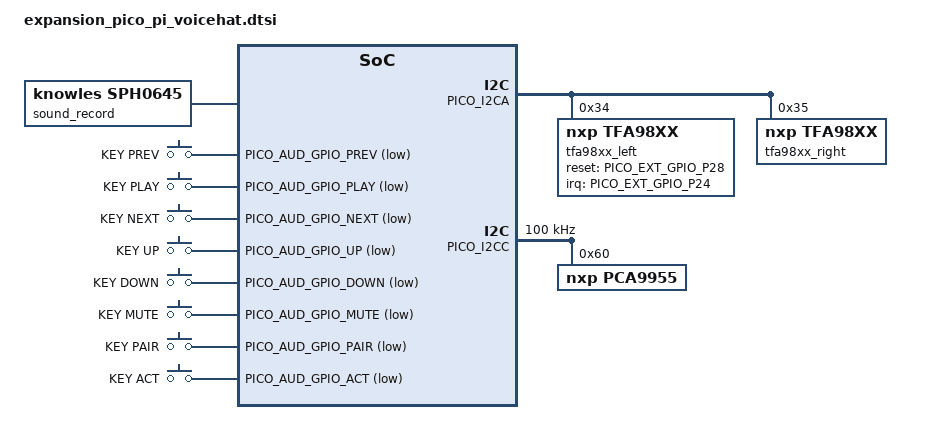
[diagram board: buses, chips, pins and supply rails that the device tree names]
/*
 * Copyright 2018 Technexion Ltd.
 *
 * Author: Wig Cheng <wig.cheng@technexion.com>
 *	   Richard Hu <richard.hu@technexion.com>
 *	   Tapani Utriainen <tapani@technexion.com>
 *
 * This program is free software; you can redistribute it and/or modify
 * it under the terms of the GNU General Public License version 2 as
 * published by the Free Software Foundation.
 *
 */

#include "tnmacro.h"

/ {
	/delete-node/ sound; //Disable SGTL5K on PICO-PI baseboard
	/delete-node/ gpio-edm;

	sound-tfa9912 {
		compatible = "nxp,imx-audio-tfa98xx", "nxp,imx-tfa98xx";
		nxp,model = "TFA9912";
		cpu-dai = <&PICO_AUDA_I2S_CHANNEL>;
		ssi-controller = <&PICO_AUDA_I2S_CHANNEL>;
		nxp,audio-codec = <&tfa98xx_left &tfa98xx_right>;
		clocks = <&PICO_AUD_CLKA_SRC>;
		nxp,audio-routing =
			"Speaker", "OUTL",
			"DMIC1", "Mic",
			"DMIC2", "Mic",
			"DMIC3", "Mic",
			"DMIC4", "Mic";
	};

	sound-sph0645 {
		compatible = "nxp,imx-audio-sph0645", "nxp,imx-sph0645";
		nxp,model = "SPH0645";
		cpu-dai = <&PICO_AUD_I2SB_CHANNEL>;
		ssi-controller = <&PICO_AUD_I2SB_CHANNEL>;
		nxp,audio-codec = <&sound_record>;
		clocks = <&PICO_AUD_CLKB_SRC>;
		no-audmux = "true";
	};

	sound_record: codec {
		compatible = "knowles,sph0645";
	};

	gpio_keys {
		compatible = "gpio-keys";
		pinctrl-names = "default";
		pinctrl-0 = <&pinctrl_gpio_key_voicehat>;

		prev {
			gpios = <&PICO_AUD_GPIO_PREV GPIO_ACTIVE_LOW>;
			label = "KEY PREV";
			linux,code = <KEY_PREVIOUS>;
		};

		play {
			gpios = <&PICO_AUD_GPIO_PLAY GPIO_ACTIVE_LOW>;
			label = "KEY PLAY";
			linux,code = <KEY_PLAY>;
		};

		next {
			gpios = <&PICO_AUD_GPIO_NEXT GPIO_ACTIVE_LOW>;
			label = "KEY NEXT";
			linux,code = <KEY_NEXT>;
		};

		up {
			gpios = <&PICO_AUD_GPIO_UP GPIO_ACTIVE_LOW>;
			label = "KEY UP";
			linux,code = <KEY_UP>;
		};

		down {
			gpios = <&PICO_AUD_GPIO_DOWN GPIO_ACTIVE_LOW>;
			label = "KEY DOWN";
			linux,code = <KEY_DOWN>;
		};

		mute {
			gpios = <&PICO_AUD_GPIO_MUTE GPIO_ACTIVE_LOW>;
			label = "KEY MUTE";
			linux,code = <KEY_MUTE>;
		};

		pair {
			gpios = <&PICO_AUD_GPIO_PAIR GPIO_ACTIVE_LOW>;
			label = "KEY PAIR";
			linux,code = <KEY_SELECT>;
		};

		act {
			gpios = <&PICO_AUD_GPIO_ACT GPIO_ACTIVE_LOW>;
			label = "KEY ACT";
			linux,code = <KEY_OK>;
		};
	};
};

&PICO_I2CA {
	status = "okay";

	tfa98xx_left: tfa98xx_left@34 {
		compatible = "nxp,tfa98xx";
		reg = <0x34>;
		reset-gpio = <&PICO_EXT_GPIO_P28 GPIO_ACTIVE_HIGH>;
		irq-gpio = <&PICO_EXT_GPIO_P24 GPIO_ACTIVE_HIGH>;
		clocks = <&PICO_AUD_CLKA_SRC>;
	};
	tfa98xx_right: tfa98xx_right@35 {
		compatible = "nxp,tfa98xx";
		reg = <0x35>;
		clocks = <&PICO_AUD_CLKA_SRC>;
	};
};

&PICO_I2CC {
	clock-frequency = <100000>;

	pca9955: pca9955 {
		compatible = "nxp,pca9955";
		#address-cells = <1>;
		#size-cells = <0>;
		reg = <0x60>;

		blue@0 {
			label = "blue0";
			reg = <0>;
			linux,default-trigger = "none";
		};
		green@1 {
			label = "green0";
			reg = <1>;
			linux,default-trigger = "none";
		};
		red@2 {
			label = "red0";
			reg = <2>;
			linux,default-trigger = "none";
		};

		blue@3 {
			label = "blue1";
			reg = <3>;
			linux,default-trigger = "none";
		};
		green@4 {
			label = "green1";
			reg = <4>;
			linux,default-trigger = "none";
		};
		red@5 {
			label = "red1";
			reg = <5>;
			linux,default-trigger = "none";
		};
	};
};

&PICO_CANA {
	status = "disabled";
};

&PICO_CANB {
	status = "disabled";
};
